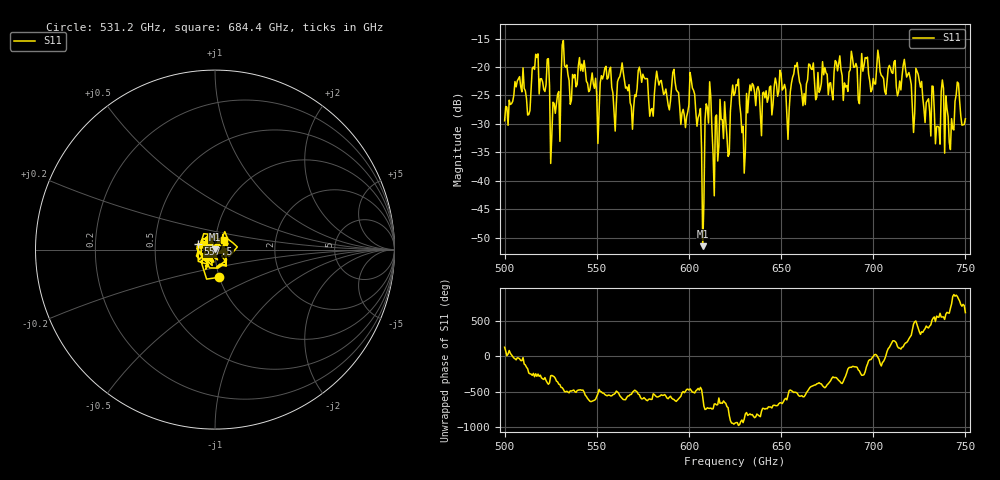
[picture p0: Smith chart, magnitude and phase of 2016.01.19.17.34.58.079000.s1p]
!Created with skrf (http://scikit-rf.org).
# GHz S RI R 50.0
!freq ReS11 ImS11
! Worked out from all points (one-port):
!   401 points, 500 GHz to 750 GHz, reference 50 ohm
!   lowest |S11| = -51.5 dB at 607.5 GHz (marker M1), VSWR 1.01, Z = 49.8 + j0.167 ohm
!   |S11| at or under -10 dB: start of sweep to end of sweep
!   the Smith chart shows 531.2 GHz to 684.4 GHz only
!   S11 on the Smith chart (normalised r, x): 531.2 GHz: 0.99, -0.31; 557.5 GHz: 0.83, +0.05; 684.4 GHz: 1.10, +0.12
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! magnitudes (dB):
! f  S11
! 500 GHz  -29.5
! 513.1 GHz  -28.3
! 516.9 GHz  -17.8
! 526.2 GHz  -26.2
! 531.2 GHz  -16.1
! 557.5 GHz  -20.0
! 562.5 GHz  -21.7
! 569.4 GHz  -30.9
! 573.8 GHz  -21.1
! 579.4 GHz  -27.5
! 593.8 GHz  -24.3
! 601.9 GHz  -23.7
! 607.5 GHz  -51.5
! 610.6 GHz  -29.8
! 614.4 GHz  -28.8
! 625 GHz  -24.6
! 629.4 GHz  -30.4
! 633.8 GHz  -24.2
! 653.8 GHz  -32.7
! 656.2 GHz  -21.8
! 684.4 GHz  -22.8
! 687.5 GHz  -20.5
! 718.8 GHz  -21.3
! 735 GHz  -30.4
! 738.1 GHz  -23.8
! 742.5 GHz  -29.1
! 745.6 GHz  -22.6
! 750 GHz  -29.1
